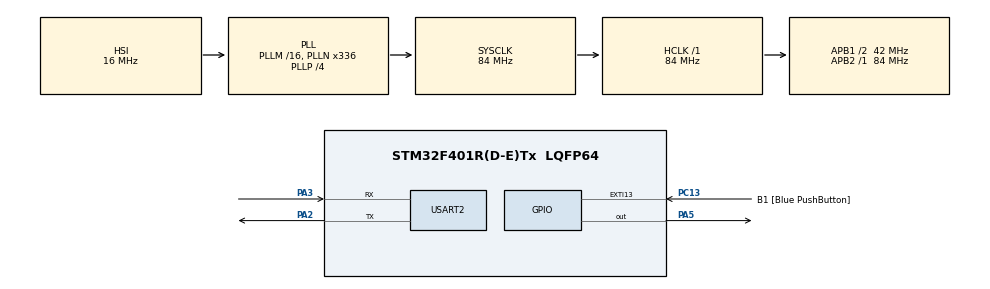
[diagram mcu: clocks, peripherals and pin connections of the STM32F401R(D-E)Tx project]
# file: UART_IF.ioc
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Mcu.Family=STM32F4
Mcu.Name=STM32F401R(D-E)Tx
Mcu.Package=LQFP64
NVIC.PriorityGroup=NVIC_PRIORITYGROUP_0
NVIC.USART2_IRQn=true\:0\:0\:false\:false\:true\:true\:true\:true
PA13.GPIO_Label=TMS
PA13.Mode=Serial_Wire
PA13.Signal=SYS_JTMS-SWDIO
PA14.GPIO_Label=TCK
PA14.Mode=Serial_Wire
PA14.Signal=SYS_JTCK-SWCLK
PA2.GPIO_Mode=GPIO_MODE_AF_PP
PA2.GPIO_ModeDefaultPP=GPIO_MODE_AF_PP
PA2.GPIO_PuPd=GPIO_NOPULL
PA2.GPIO_Speed=GPIO_SPEED_FREQ_VERY_HIGH
PA2.Mode=Asynchronous
PA2.Signal=USART2_TX
PA3.GPIO_Mode=GPIO_MODE_AF_PP
PA3.GPIO_ModeDefaultPP=GPIO_MODE_AF_PP
PA3.GPIO_PuPd=GPIO_NOPULL
PA3.GPIO_Speed=GPIO_SPEED_FREQ_VERY_HIGH
PA3.Mode=Asynchronous
PA3.Signal=USART2_RX
PA5.GPIO_Speed=GPIO_SPEED_FREQ_VERY_HIGH
PA5.PinState=GPIO_PIN_SET
PA5.Signal=GPIO_Output
PB3.GPIO_Label=SWO
PB3.Signal=SYS_JTDO-SWO
PC13-ANTI_TAMP.GPIO_Label=B1 [Blue PushButton]
PC13-ANTI_TAMP.GPIO_ModeDefaultEXTI=GPIO_MODE_IT_FALLING
PC13-ANTI_TAMP.GPIO_PuPd=GPIO_NOPULL
PC13-ANTI_TAMP.Signal=GPXTI13
PC14-OSC32_IN.Mode=LSE-External-Oscillator
PC14-OSC32_IN.Signal=RCC_OSC32_IN
PC15-OSC32_OUT.Mode=LSE-External-Oscillator
PC15-OSC32_OUT.Signal=RCC_OSC32_OUT
PH0\ -\ OSC_IN.Mode=HSE-External-Clock-Source
PH0\ -\ OSC_IN.Signal=RCC_OSC_IN
PH1\ -\ OSC_OUT.Mode=HSE-External-Clock-Source
PH1\ -\ OSC_OUT.Signal=RCC_OSC_OUT
ProjectManager.HeapSize=0x200
ProjectManager.StackSize=0x400
ProjectManager.TargetToolchain=STM32CubeIDE
RCC.48MHZClocksFreq_Value=48000000
RCC.AHBFreq_Value=84000000
RCC.APB1CLKDivider=RCC_HCLK_DIV2
RCC.APB1Freq_Value=42000000
RCC.APB1TimFreq_Value=84000000
RCC.APB2Freq_Value=84000000
RCC.APB2TimFreq_Value=84000000
RCC.CortexFreq_Value=84000000
RCC.HCLKFreq_Value=84000000
RCC.HSE_VALUE=8000000
RCC.HSI_VALUE=16000000
RCC.PLLN=336
RCC.PLLP=RCC_PLLP_DIV4
RCC.PLLQ=7
RCC.SYSCLKFreq_VALUE=84000000
RCC.SYSCLKSource=RCC_SYSCLKSOURCE_PLLCLK
RCC.VCOOutputFreq_Value=336000000
USART2.VirtualMode=VM_ASYNC
VP_CRC_VS_CRC.Mode=CRC_Activate
board=NUCLEO-F401RE

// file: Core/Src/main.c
/* USER CODE BEGIN Header */
/**
  ******************************************************************************
  * @file           : main.c
  * @brief          : Main program body
  ******************************************************************************
  * @attention
  *
  * Copyright (c) 2024 STMicroelectronics.
  * All rights reserved.
  *
  * This software is licensed under terms that can be found in the LICENSE file
  * in the root directory of this software component.
  * If no LICENSE file comes with this software, it is provided AS-IS.
  *
  ******************************************************************************
  */
/* USER CODE END Header */
#include "main.h"
#include "crc.h"
#include "usart.h"
#include "gpio.h"
#include "flash.h"

/* USER CODE BEGIN Includes */
#include <string.h>
#include <stdint.h>
/* USER CODE END Includes */

void SystemClock_Config(void);

int main(void)
{

  /* MCU Configuration--------------------------------------------------------*/

  /* Reset of all peripherals, Initializes the Flash interface and the Systick. */
  HAL_Init();

  /* Configure the system clock */
  SystemClock_Config();

  /* Initialize all configured peripherals */
  MX_GPIO_Init();
  MX_USART2_UART_Init();
  MX_CRC_Init();
  /* USER CODE BEGIN 2 */
  /*----------------------------------- GLOBALS(main) ----------------------------------*/
  const  uint8_t* start_indication 			= "Program Start...\n\r\0";
  const  uint8_t* operation_failed 			= "Operation failed...\n\r\0";
  const  uint8_t* uart_tx_indication 		= "Transmit Successful!\n\r\0";
  const  uint8_t* flash_erase_indication	= "Sectors are erased...\n\r\0";
  const  uint8_t* flash_write_indication	= "Sectors are flashed...\n\r\0";
  const  uint8_t* flash_write_string 		= "GRMSTRM_ARDA\n\r\0";
  uint8_t flash_read_buffer[100];
  volatile HAL_StatusTypeDef uart_tx_status = HAL_ERROR;

  /*----------------------------------- TESTS ----------------------------------*/

  HAL_UART_Transmit(&huart2, start_indication, strlen(start_indication) , 50);

  // Erasing sectors 5-6-7
  e_FlashReturnStatus fls_erase_status = Flash_Erase_Sectors(5,3);

  if (FLS_OK == fls_erase_status)
  {
	  HAL_UART_Transmit(&huart2, flash_erase_indication, strlen(flash_erase_indication) , 50);
  }
  else
  {
	  HAL_UART_Transmit(&huart2, operation_failed, strlen(operation_failed) , 50);
	  HAL_Delay(2000);
  }

  /* USER CODE END 2 */

  /* Infinite loop */
  /* USER CODE BEGIN WHILE */
  while (1)
  {
	 uart_tx_status = HAL_UART_Transmit_IT(&huart2, uart_tx_indication, strlen(uart_tx_indication));

	 if(HAL_OK == uart_tx_status)
	 {
		 // Successful transmit
		 HAL_Delay(500);
	 }
	 else
	 {
		 // Error Handler
	 }
    /* USER CODE END WHILE */

  }
}

void SystemClock_Config(void)
{
  RCC_OscInitTypeDef RCC_OscInitStruct = {0};
  RCC_ClkInitTypeDef RCC_ClkInitStruct = {0};

  /** Configure the main internal regulator output voltage
  */
  __HAL_RCC_PWR_CLK_ENABLE();
  __HAL_PWR_VOLTAGESCALING_CONFIG(PWR_REGULATOR_VOLTAGE_SCALE2);

  /** Initializes the RCC Oscillators according to the specified parameters
  * in the RCC_OscInitTypeDef structure.
  */
  RCC_OscInitStruct.OscillatorType = RCC_OSCILLATORTYPE_HSI;
  RCC_OscInitStruct.HSIState = RCC_HSI_ON;
  RCC_OscInitStruct.HSICalibrationValue = RCC_HSICALIBRATION_DEFAULT;
  RCC_OscInitStruct.PLL.PLLState = RCC_PLL_ON;
  RCC_OscInitStruct.PLL.PLLSource = RCC_PLLSOURCE_HSI;
  RCC_OscInitStruct.PLL.PLLM = 16;
  RCC_OscInitStruct.PLL.PLLN = 336;
  RCC_OscInitStruct.PLL.PLLP = RCC_PLLP_DIV4;
  RCC_OscInitStruct.PLL.PLLQ = 7;
  if (HAL_RCC_OscConfig(&RCC_OscInitStruct) != HAL_OK)
  {
    Error_Handler();
  }

  /** Initializes the CPU, AHB and APB buses clocks
  */
  RCC_ClkInitStruct.ClockType = RCC_CLOCKTYPE_HCLK|RCC_CLOCKTYPE_SYSCLK
                              |RCC_CLOCKTYPE_PCLK1|RCC_CLOCKTYPE_PCLK2;
  RCC_ClkInitStruct.SYSCLKSource = RCC_SYSCLKSOURCE_PLLCLK;
  RCC_ClkInitStruct.AHBCLKDivider = RCC_SYSCLK_DIV1;
  RCC_ClkInitStruct.APB1CLKDivider = RCC_HCLK_DIV2;
  RCC_ClkInitStruct.APB2CLKDivider = RCC_HCLK_DIV1;

  if (HAL_RCC_ClockConfig(&RCC_ClkInitStruct, FLASH_LATENCY_2) != HAL_OK)
  {
    Error_Handler();
  }
}

/* USER CODE BEGIN 4 */
void HAL_UART_TxCpltCallback(UART_HandleTypeDef *huart)
{
    HAL_GPIO_TogglePin(GPIOA, GPIO_PIN_5); // Toggle LED2 on TX complete
}
void HAL_UART_RxCpltCallback(UART_HandleTypeDef *huart)
{
    HAL_GPIO_TogglePin(GPIOA, GPIO_PIN_5); // Toggle LED2 on TX complete
}
/* USER CODE END 4 */

void Error_Handler(void)
{
  __disable_irq();
  while (1)
  {
  }
}
